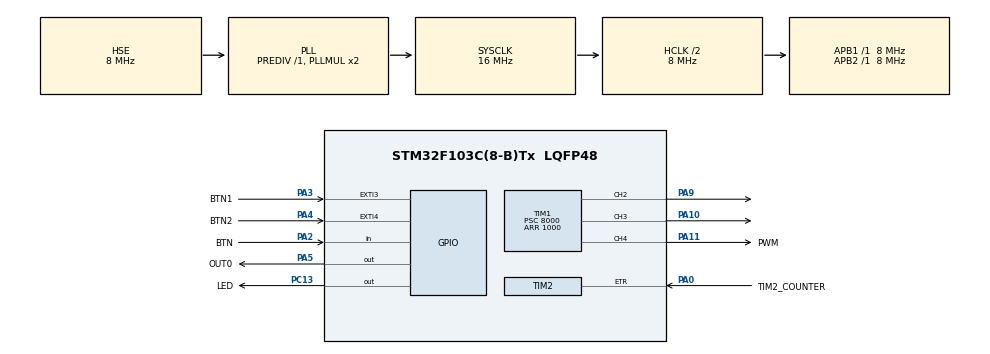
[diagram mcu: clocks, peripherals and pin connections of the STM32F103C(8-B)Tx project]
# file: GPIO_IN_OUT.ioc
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Mcu.Family=STM32F1
Mcu.Name=STM32F103C(8-B)Tx
Mcu.Package=LQFP48
NVIC.EXTI3_IRQn=true\:6\:0\:true\:false\:true\:true\:true
NVIC.EXTI4_IRQn=true\:6\:0\:true\:false\:true\:true\:true
NVIC.PriorityGroup=NVIC_PRIORITYGROUP_4
NVIC.TIM1_UP_IRQn=true\:0\:0\:false\:false\:true\:true\:true
NVIC.TIM2_IRQn=true\:0\:0\:false\:false\:true\:true\:true
NVIC.TIM3_IRQn=true\:0\:0\:false\:false\:true\:true\:true
PA0-WKUP.GPIO_Label=TIM2_COUNTER
PA0-WKUP.Signal=S_TIM2_CH1_ETR
PA10.Signal=S_TIM1_CH3
PA11.GPIO_Label=PWM
PA11.Signal=S_TIM1_CH4
PA13.Mode=Serial_Wire
PA13.Signal=SYS_JTMS-SWDIO
PA14.Mode=Serial_Wire
PA14.Signal=SYS_JTCK-SWCLK
PA2.GPIO_Label=BTN
PA2.GPIO_PuPd=GPIO_PULLUP
PA2.Signal=GPIO_Input
PA3.GPIO_Label=BTN1
PA3.GPIO_ModeDefaultEXTI=GPIO_MODE_IT_FALLING
PA3.GPIO_PuPd=GPIO_PULLUP
PA3.Signal=GPXTI3
PA4.GPIO_Label=BTN2
PA4.GPIO_ModeDefaultEXTI=GPIO_MODE_IT_FALLING
PA4.GPIO_PuPd=GPIO_PULLUP
PA4.Signal=GPXTI4
PA5.GPIO_Label=OUT0
PA5.GPIO_Speed=GPIO_SPEED_FREQ_HIGH
PA5.Signal=GPIO_Output
PA9.Signal=S_TIM1_CH2
PC13-TAMPER-RTC.GPIO_Label=LED
PC13-TAMPER-RTC.GPIO_Speed=GPIO_SPEED_FREQ_MEDIUM
PC13-TAMPER-RTC.Signal=GPIO_Output
PC14-OSC32_IN.Mode=LSE-External-Oscillator
PC14-OSC32_IN.Signal=RCC_OSC32_IN
PC15-OSC32_OUT.Mode=LSE-External-Oscillator
PC15-OSC32_OUT.Signal=RCC_OSC32_OUT
PD0-OSC_IN.Mode=HSE-External-Oscillator
PD0-OSC_IN.Signal=RCC_OSC_IN
PD1-OSC_OUT.Mode=HSE-External-Oscillator
PD1-OSC_OUT.Signal=RCC_OSC_OUT
ProjectManager.HeapSize=0x200
ProjectManager.StackSize=0x400
ProjectManager.TargetToolchain=MDK-ARM V5.27
RCC.AHBCLKDivider=RCC_SYSCLK_DIV2
RCC.AHBFreq_Value=8000000
RCC.APB1Freq_Value=8000000
RCC.APB1TimFreq_Value=8000000
RCC.APB2Freq_Value=8000000
RCC.APB2TimFreq_Value=8000000
RCC.HCLKFreq_Value=8000000
RCC.PLLSourceVirtual=RCC_PLLSOURCE_HSE
RCC.SYSCLKFreq_VALUE=16000000
RCC.SYSCLKSource=RCC_SYSCLKSOURCE_PLLCLK
RCC.USBFreq_Value=16000000
SH.S_TIM1_CH2.0=TIM1_CH2,Output Compare2 CH2
SH.S_TIM1_CH3.0=TIM1_CH3,Output Compare3 CH3
SH.S_TIM1_CH4.0=TIM1_CH4,PWM Generation4 CH4
SH.S_TIM2_CH1_ETR.0=TIM2_ETR,ClockSourceETR_Mode2
TIM1.Channel-Output\ Compare2\ CH2=TIM_CHANNEL_2
TIM1.Channel-Output\ Compare3\ CH3=TIM_CHANNEL_3
TIM1.Channel-PWM\ Generation4\ CH4=TIM_CHANNEL_4
TIM1.OC2Preload=ENABLE
TIM1.OC3Preload=ENABLE
TIM1.OCMode_2=TIM_OCMODE_TOGGLE
TIM1.OCMode_3=TIM_OCMODE_TOGGLE
TIM1.Period=1000
TIM1.Prescaler=8000
TIM1.Pulse-Output\ Compare2\ CH2=200
TIM1.Pulse-Output\ Compare3\ CH3=500
TIM1.Pulse-PWM\ Generation4\ CH4=300
TIM2.ClockDivision=TIM_CLOCKDIVISION_DIV1
TIM2.ClockFilter=3
TIM2.ClockPrescaler=TIM_CLOCKPRESCALER_DIV1
TIM2.Period=1000
TIM3.Period=101
TIM3.Prescaler=8000
VP_TIM1_VS_ClockSourceINT.Mode=Internal
VP_TIM3_VS_ClockSourceINT.Mode=Internal
board=custom

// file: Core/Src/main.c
/* USER CODE BEGIN Header */
/**
  ******************************************************************************
  * @file           : main.c
  * @brief          : Main program body
  ******************************************************************************
  * @attention
  *
  * <h2><center>&copy; Copyright (c) 2021 STMicroelectronics.
  * All rights reserved.</center></h2>
  *
  * This software component is licensed by ST under BSD 3-Clause license,
  * the "License"; You may not use this file except in compliance with the
  * License. You may obtain a copy of the License at:
  *                        opensource.org/licenses/BSD-3-Clause
  *
  ******************************************************************************
  */
/* USER CODE END Header */
#include "main.h"

TIM_HandleTypeDef htim1;
TIM_HandleTypeDef htim2;
TIM_HandleTypeDef htim3;

void SystemClock_Config(void);
static void MX_GPIO_Init(void);
static void MX_TIM1_Init(void);
static void MX_TIM3_Init(void);
static void MX_TIM2_Init(void);
/* USER CODE BEGIN PFP */
static void clearAll( void );
static void runMode( void );
static void flash_read_write_protect(void);
/* USER CODE END PFP */

/* USER CODE BEGIN 0 */
volatile uint8_t u8Counter= 0, u8TempCounter=0;
volatile uint8_t u8Mode= 0, u8TempMode= 0, u8CountTimer1= 0;
volatile uint16_t u16TestCounterTimer2= 0;
void earseFlash( uint32_t u32address );
/* USER CODE END 0 */

int main(void)
{

  /* MCU Configuration--------------------------------------------------------*/

  /* Reset of all peripherals, Initializes the Flash interface and the Systick. */
  HAL_Init();

  /* Configure the system clock */
  SystemClock_Config();

  /* USER CODE BEGIN SysInit */
	flash_read_write_protect();
  /* USER CODE END SysInit */

  /* Initialize all configured peripherals */
  MX_GPIO_Init();
  MX_TIM1_Init();
  MX_TIM3_Init();
  MX_TIM2_Init();
  /* USER CODE BEGIN 2 */
	HAL_TIM_Base_Start_IT(&htim3);

	/* init value */
	u8TempCounter= u8Counter;
  /* USER CODE END 2 */

  /* Infinite loop */
  while (1)
  {

    /* USER CODE BEGIN 3 */
		if( u8Counter - u8TempCounter >= 2u){
			u8TempCounter= u8Counter;
			runMode();
		}
  }
  /* USER CODE END 3 */
}

void SystemClock_Config(void)
{
  RCC_OscInitTypeDef RCC_OscInitStruct = {0};
  RCC_ClkInitTypeDef RCC_ClkInitStruct = {0};

  /** Initializes the RCC Oscillators according to the specified parameters
  * in the RCC_OscInitTypeDef structure.
  */
  RCC_OscInitStruct.OscillatorType = RCC_OSCILLATORTYPE_HSE;
  RCC_OscInitStruct.HSEState = RCC_HSE_ON;
  RCC_OscInitStruct.HSEPredivValue = RCC_HSE_PREDIV_DIV1;
  RCC_OscInitStruct.HSIState = RCC_HSI_ON;
  RCC_OscInitStruct.PLL.PLLState = RCC_PLL_ON;
  RCC_OscInitStruct.PLL.PLLSource = RCC_PLLSOURCE_HSE;
  RCC_OscInitStruct.PLL.PLLMUL = RCC_PLL_MUL2;
  if (HAL_RCC_OscConfig(&RCC_OscInitStruct) != HAL_OK)
  {
    Error_Handler();
  }
  /** Initializes the CPU, AHB and APB buses clocks
  */
  RCC_ClkInitStruct.ClockType = RCC_CLOCKTYPE_HCLK|RCC_CLOCKTYPE_SYSCLK
                              |RCC_CLOCKTYPE_PCLK1|RCC_CLOCKTYPE_PCLK2;
  RCC_ClkInitStruct.SYSCLKSource = RCC_SYSCLKSOURCE_PLLCLK;
  RCC_ClkInitStruct.AHBCLKDivider = RCC_SYSCLK_DIV2;
  RCC_ClkInitStruct.APB1CLKDivider = RCC_HCLK_DIV1;
  RCC_ClkInitStruct.APB2CLKDivider = RCC_HCLK_DIV1;

  if (HAL_RCC_ClockConfig(&RCC_ClkInitStruct, FLASH_LATENCY_0) != HAL_OK)
  {
    Error_Handler();
  }
}

static void MX_TIM1_Init(void)
{

  TIM_ClockConfigTypeDef sClockSourceConfig = {0};
  TIM_MasterConfigTypeDef sMasterConfig = {0};
  TIM_OC_InitTypeDef sConfigOC = {0};
  TIM_BreakDeadTimeConfigTypeDef sBreakDeadTimeConfig = {0};

  htim1.Instance = TIM1;
  htim1.Init.Prescaler = 8000;
  htim1.Init.CounterMode = TIM_COUNTERMODE_UP;
  htim1.Init.Period = 1000;
  htim1.Init.ClockDivision = TIM_CLOCKDIVISION_DIV1;
  htim1.Init.RepetitionCounter = 0;
  htim1.Init.AutoReloadPreload = TIM_AUTORELOAD_PRELOAD_DISABLE;
  if (HAL_TIM_Base_Init(&htim1) != HAL_OK)
  {
    Error_Handler();
  }
  sClockSourceConfig.ClockSource = TIM_CLOCKSOURCE_INTERNAL;
  if (HAL_TIM_ConfigClockSource(&htim1, &sClockSourceConfig) != HAL_OK)
  {
    Error_Handler();
  }
  if (HAL_TIM_OC_Init(&htim1) != HAL_OK)
  {
    Error_Handler();
  }
  if (HAL_TIM_PWM_Init(&htim1) != HAL_OK)
  {
    Error_Handler();
  }
  sMasterConfig.MasterOutputTrigger = TIM_TRGO_RESET;
  sMasterConfig.MasterSlaveMode = TIM_MASTERSLAVEMODE_DISABLE;
  if (HAL_TIMEx_MasterConfigSynchronization(&htim1, &sMasterConfig) != HAL_OK)
  {
    Error_Handler();
  }
  sConfigOC.OCMode = TIM_OCMODE_TOGGLE;
  sConfigOC.Pulse = 200;
  sConfigOC.OCPolarity = TIM_OCPOLARITY_HIGH;
  sConfigOC.OCNPolarity = TIM_OCNPOLARITY_HIGH;
  sConfigOC.OCFastMode = TIM_OCFAST_DISABLE;
  sConfigOC.OCIdleState = TIM_OCIDLESTATE_RESET;
  sConfigOC.OCNIdleState = TIM_OCNIDLESTATE_RESET;
  if (HAL_TIM_OC_ConfigChannel(&htim1, &sConfigOC, TIM_CHANNEL_2) != HAL_OK)
  {
    Error_Handler();
  }
  __HAL_TIM_ENABLE_OCxPRELOAD(&htim1, TIM_CHANNEL_2);
  sConfigOC.Pulse = 500;
  if (HAL_TIM_OC_ConfigChannel(&htim1, &sConfigOC, TIM_CHANNEL_3) != HAL_OK)
  {
    Error_Handler();
  }
  __HAL_TIM_ENABLE_OCxPRELOAD(&htim1, TIM_CHANNEL_3);
  sConfigOC.OCMode = TIM_OCMODE_PWM1;
  sConfigOC.Pulse = 300;
  if (HAL_TIM_PWM_ConfigChannel(&htim1, &sConfigOC, TIM_CHANNEL_4) != HAL_OK)
  {
    Error_Handler();
  }
  sBreakDeadTimeConfig.OffStateRunMode = TIM_OSSR_DISABLE;
  sBreakDeadTimeConfig.OffStateIDLEMode = TIM_OSSI_DISABLE;
  sBreakDeadTimeConfig.LockLevel = TIM_LOCKLEVEL_OFF;
  sBreakDeadTimeConfig.DeadTime = 0;
  sBreakDeadTimeConfig.BreakState = TIM_BREAK_DISABLE;
  sBreakDeadTimeConfig.BreakPolarity = TIM_BREAKPOLARITY_HIGH;
  sBreakDeadTimeConfig.AutomaticOutput = TIM_AUTOMATICOUTPUT_DISABLE;
  if (HAL_TIMEx_ConfigBreakDeadTime(&htim1, &sBreakDeadTimeConfig) != HAL_OK)
  {
    Error_Handler();
  }
  /* USER CODE BEGIN TIM1_Init 2 */
	__HAL_TIM_CLEAR_IT(&htim1, TIM_IT_UPDATE);
  /* USER CODE END TIM1_Init 2 */
  HAL_TIM_MspPostInit(&htim1);

}

static void MX_TIM2_Init(void)
{

  TIM_ClockConfigTypeDef sClockSourceConfig = {0};
  TIM_MasterConfigTypeDef sMasterConfig = {0};

  htim2.Instance = TIM2;
  htim2.Init.Prescaler = 0;
  htim2.Init.CounterMode = TIM_COUNTERMODE_UP;
  htim2.Init.Period = 1000;
  htim2.Init.ClockDivision = TIM_CLOCKDIVISION_DIV1;
  htim2.Init.AutoReloadPreload = TIM_AUTORELOAD_PRELOAD_DISABLE;
  if (HAL_TIM_Base_Init(&htim2) != HAL_OK)
  {
    Error_Handler();
  }
  sClockSourceConfig.ClockSource = TIM_CLOCKSOURCE_ETRMODE2;
  sClockSourceConfig.ClockPolarity = TIM_CLOCKPOLARITY_NONINVERTED;
  sClockSourceConfig.ClockPrescaler = TIM_CLOCKPRESCALER_DIV1;
  sClockSourceConfig.ClockFilter = 3;
  if (HAL_TIM_ConfigClockSource(&htim2, &sClockSourceConfig) != HAL_OK)
  {
    Error_Handler();
  }
  sMasterConfig.MasterOutputTrigger = TIM_TRGO_RESET;
  sMasterConfig.MasterSlaveMode = TIM_MASTERSLAVEMODE_DISABLE;
  if (HAL_TIMEx_MasterConfigSynchronization(&htim2, &sMasterConfig) != HAL_OK)
  {
    Error_Handler();
  }

}

static void MX_TIM3_Init(void)
{

  TIM_ClockConfigTypeDef sClockSourceConfig = {0};
  TIM_MasterConfigTypeDef sMasterConfig = {0};

  htim3.Instance = TIM3;
  htim3.Init.Prescaler = 8000;
  htim3.Init.CounterMode = TIM_COUNTERMODE_UP;
  htim3.Init.Period = 100u;
  htim3.Init.ClockDivision = TIM_CLOCKDIVISION_DIV1;
  htim3.Init.AutoReloadPreload = TIM_AUTORELOAD_PRELOAD_DISABLE;
  if (HAL_TIM_Base_Init(&htim3) != HAL_OK)
  {
    Error_Handler();
  }
  sClockSourceConfig.ClockSource = TIM_CLOCKSOURCE_INTERNAL;
  if (HAL_TIM_ConfigClockSource(&htim3, &sClockSourceConfig) != HAL_OK)
  {
    Error_Handler();
  }
  sMasterConfig.MasterOutputTrigger = TIM_TRGO_RESET;
  sMasterConfig.MasterSlaveMode = TIM_MASTERSLAVEMODE_DISABLE;
  if (HAL_TIMEx_MasterConfigSynchronization(&htim3, &sMasterConfig) != HAL_OK)
  {
    Error_Handler();
  }
  /* USER CODE BEGIN TIM3_Init 2 */
	__HAL_TIM_CLEAR_IT(&htim3, TIM_IT_UPDATE);
  /* USER CODE END TIM3_Init 2 */

}

static void MX_GPIO_Init(void)
{
  GPIO_InitTypeDef GPIO_InitStruct = {0};

  /* GPIO Ports Clock Enable */
  __HAL_RCC_GPIOC_CLK_ENABLE();
  __HAL_RCC_GPIOD_CLK_ENABLE();
  __HAL_RCC_GPIOA_CLK_ENABLE();
  __HAL_RCC_GPIOB_CLK_ENABLE();

  /*Configure GPIO pin Output Level */
  HAL_GPIO_WritePin(LED_GPIO_Port, LED_Pin, GPIO_PIN_RESET);

  /*Configure GPIO pin Output Level */
  HAL_GPIO_WritePin(OUT0_GPIO_Port, OUT0_Pin, GPIO_PIN_RESET);

  /*Configure GPIO pin : LED_Pin */
  GPIO_InitStruct.Pin = LED_Pin;
  GPIO_InitStruct.Mode = GPIO_MODE_OUTPUT_PP;
  GPIO_InitStruct.Pull = GPIO_NOPULL;
  GPIO_InitStruct.Speed = GPIO_SPEED_FREQ_MEDIUM;
  HAL_GPIO_Init(LED_GPIO_Port, &GPIO_InitStruct);

  /*Configure GPIO pins : PA1 PA6 PA7 PA8
                           PA12 PA15 */
  GPIO_InitStruct.Pin = GPIO_PIN_1|GPIO_PIN_6|GPIO_PIN_7|GPIO_PIN_8
                          |GPIO_PIN_12|GPIO_PIN_15;
  GPIO_InitStruct.Mode = GPIO_MODE_ANALOG;
  HAL_GPIO_Init(GPIOA, &GPIO_InitStruct);

  /*Configure GPIO pin : BTN_Pin */
  GPIO_InitStruct.Pin = BTN_Pin;
  GPIO_InitStruct.Mode = GPIO_MODE_INPUT;
  GPIO_InitStruct.Pull = GPIO_PULLUP;
  HAL_GPIO_Init(BTN_GPIO_Port, &GPIO_InitStruct);

  /*Configure GPIO pins : BTN1_Pin BTN2_Pin */
  GPIO_InitStruct.Pin = BTN1_Pin|BTN2_Pin;
  GPIO_InitStruct.Mode = GPIO_MODE_IT_FALLING;
  GPIO_InitStruct.Pull = GPIO_PULLUP;
  HAL_GPIO_Init(GPIOA, &GPIO_InitStruct);

  /*Configure GPIO pin : OUT0_Pin */
  GPIO_InitStruct.Pin = OUT0_Pin;
  GPIO_InitStruct.Mode = GPIO_MODE_OUTPUT_PP;
  GPIO_InitStruct.Pull = GPIO_NOPULL;
  GPIO_InitStruct.Speed = GPIO_SPEED_FREQ_HIGH;
  HAL_GPIO_Init(OUT0_GPIO_Port, &GPIO_InitStruct);

  /*Configure GPIO pins : PB0 PB1 PB2 PB10
                           PB11 PB12 PB13 PB14
                           PB15 PB3 PB4 PB5
                           PB6 PB7 PB8 PB9 */
  GPIO_InitStruct.Pin = GPIO_PIN_0|GPIO_PIN_1|GPIO_PIN_2|GPIO_PIN_10
                          |GPIO_PIN_11|GPIO_PIN_12|GPIO_PIN_13|GPIO_PIN_14
                          |GPIO_PIN_15|GPIO_PIN_3|GPIO_PIN_4|GPIO_PIN_5
                          |GPIO_PIN_6|GPIO_PIN_7|GPIO_PIN_8|GPIO_PIN_9;
  GPIO_InitStruct.Mode = GPIO_MODE_ANALOG;
  HAL_GPIO_Init(GPIOB, &GPIO_InitStruct);

  /* EXTI interrupt init*/
  HAL_NVIC_SetPriority(EXTI3_IRQn, 6, 0);
  HAL_NVIC_EnableIRQ(EXTI3_IRQn);

  HAL_NVIC_SetPriority(EXTI4_IRQn, 6, 0);
  HAL_NVIC_EnableIRQ(EXTI4_IRQn);

}

/* USER CODE BEGIN 4 */
/*============================= HANDLE EXTERNAL ====================================*/
void HAL_GPIO_EXTI_Callback(uint16_t GPIO_Pin)
{
  /* Prevent unused argument(s) compilation warning */
  UNUSED(GPIO_Pin);
	/* handle button */
	if( GPIO_Pin== GPIO_PIN_3){
		/* Debound button */
		if( !( (GPIOA->IDR>>3U)&1U ) ){
			HAL_Delay(2U);
			if( !( (GPIOA->IDR>>3U)&1U ) ){
				HAL_Delay(2U);
				HAL_GPIO_TogglePin( GPIOC, GPIO_PIN_13 );
				while(!( (GPIOA->IDR>>3U)&1U ));
			}
		}
	}

	/* HANDLE BUTTON 1 */
	else if (GPIO_Pin== GPIO_PIN_4){
	/* Debound button 1*/
		if( !( (GPIOA->IDR>>4U)&1U ) ){
			HAL_Delay(2U);
			if( !( (GPIOA->IDR>>4U)&1U ) ){
				HAL_Delay(2U);
				u8Mode++;
				if( u8Mode == 5) u8Mode= 0;
				HAL_GPIO_TogglePin( GPIOC, GPIO_PIN_13 );
				while(!( (GPIOA->IDR>>4U)&1U ));
			}
		}
	}
}

/*=============================== HANDLE TIME3 ==============================*/
void HAL_TIM_PeriodElapsedCallback(TIM_HandleTypeDef *htim)
{
  /* Prevent unused argument(s) compilation warning */
  UNUSED(htim);

  /* NOTE : This function should not be modified, when the callback is needed,
            the HAL_TIM_PeriodElapsedCallback could be implemented in the user file
   */
	if( TIM3->SR&1 ){
		__HAL_TIM_CLEAR_IT(htim, TIM_IT_UPDATE);
		u8Counter++;
		if( u8Counter == 0)
			u8TempCounter= 0;
	}
	else if( TIM1->SR&1){
		__HAL_TIM_CLEAR_IT(htim, TIM_IT_UPDATE);
		u8CountTimer1++;
	}
}

/*==================== switch mode ============================*/
static void runMode( void ){
	switch( u8Mode ){
		case 1:
			if( u8Mode != u8TempMode){
				u8TempMode= u8Mode;
				clearAll();
				/* reinit tim1 */
				TIM1->ARR= 1000U;
				HAL_TIM_Base_Start_IT(&htim1);
				HAL_TIM_OC_Start(&htim1, TIM_CHANNEL_2);
				HAL_TIM_OC_Start(&htim1, TIM_CHANNEL_3);
			}
			break;
		case 2:
			if( u8Mode != u8TempMode){
				u8TempMode= u8Mode;
				clearAll();
			}
			HAL_GPIO_TogglePin( GPIOA, GPIO_PIN_5);
			break;
		case 3:
			if( u8Mode != u8TempMode){
				u8TempMode= u8Mode;
				clearAll();
				u16TestCounterTimer2= 0u;
				TIM2->CNT= 0u;
				HAL_TIM_Base_Start_IT(&htim2);
			}
			HAL_GPIO_TogglePin( GPIOA, GPIO_PIN_5);
			HAL_Delay(10u);
			HAL_GPIO_TogglePin( GPIOA, GPIO_PIN_5);
			u16TestCounterTimer2++;
			break;
		case 4:
			if( u8Mode != u8TempMode){
				u8TempMode= u8Mode;
				clearAll();
				TIM1->ARR= 10U;
				TIM1->CCR4= 0u;
				TIM1->CNT= 0u;
				HAL_TIM_PWM_Start(&htim1, TIM_CHANNEL_4);
			}
			for( uint8_t i=0; i< 101; i+= 2){
				TIM1->CCR4= i*10/100.0;
				HAL_Delay(30u);
			}
			break;

		default:
			clearAll();
			break;
	}

}

/*==================== clear all ============================*/
static void clearAll( void ){
	HAL_TIM_OC_Stop(&htim1, TIM_CHANNEL_2);
	HAL_TIM_OC_Stop(&htim1, TIM_CHANNEL_3);
	HAL_TIM_Base_Stop_IT(&htim2);
	HAL_TIM_PWM_Stop(&htim1, TIM_CHANNEL_4);
}

static void flash_read_write_protect(void){
	/* check BSY bit */
	while( FLASH->SR & 0x01u);

	/* perform unclock FPEC sequence */
	FLASH->KEYR = 0x45670123;
	FLASH->KEYR = 0xCDEF89AB;

	/* Authorize the option byte: to set the OPTWRE bit in the FLASH_CR register */
	FLASH->OPTKEYR= 0x45670123;
	FLASH->OPTKEYR= 0xCDEF89AB;

	/* enable option bytes */
	FLASH->CR |= 1u<<5u; /* 0x00A5*/
	FLASH->CR |= 1u<<6u; /* 0x00A5*/
	FLASH->CR &= ~(uint32_t)(1u<<5u); /* 0x00A5*/
	FLASH->CR |= 1u<<4u; /* 0x00A5*/

	/* write flash */
	//*(uint16_t*)(uint32_t)0x1FFFF808= 0x00A5;
	*(uint16_t*)0x1FFFF800 = 0x00A5;
	*(uint16_t*)0x1FFFF802 = 0x00FF;

	*(uint16_t*)0x1FFFF804 = 0x00FF;
	*(uint16_t*)0x1FFFF806 = 0x00FF;

	*(uint16_t*)0x1FFFF808 = 0x01FE;
	*(uint16_t*)0x1FFFF80A = 0x00FF;

	*(uint16_t*)0x1FFFF80C = 0x00FF;
	*(uint16_t*)0x1FFFF80E = 0x00FF;
	HAL_NVIC_SystemReset();
}

void earseFlash( uint32_t u32address ){
	/* check BSY bit */
	while( FLASH->SR & 0x01u);
	/* check unclock sequence in LOCK bit */
	if( FLASH->CR & 0x80u ){
		/* perform unclock sequence */
		FLASH->KEYR = 0x45670123;
		FLASH->KEYR = 0xCDEF89AB;
	}
	/* set PER bit  */
	FLASH->CR |= 0x02u;
	/* write address of the page want to earse */
	FLASH->AR = u32address;
	/* set STRT bit */
	FLASH->CR |= 0x40;
	/* wait busy bit reset */
	while( FLASH->SR & 0x01u);
	/* reset PER bit and  STRT bit */
	FLASH->CR &= ~0x02u;
	FLASH->CR &= ~0x40u;

}
/* USER CODE END 4 */

void Error_Handler(void)
{
  __disable_irq();
  while (1)
  {
  }
}

/************************ (C) COPYRIGHT STMicroelectronics *****END OF FILE****/
